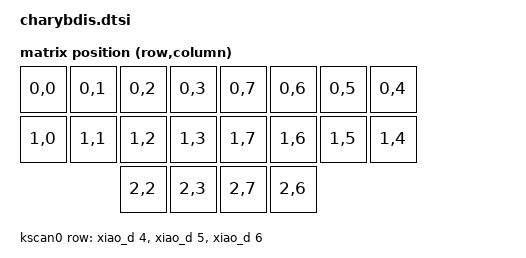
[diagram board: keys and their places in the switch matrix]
#include <dt-bindings/zmk/matrix_transform.h>

/ {
    chosen {
        zmk,kscan = &kscan0;
        zmk,matrix_transform = &default_transform;
    };

    default_transform: keymap_transform_0 {
        compatible = "zmk,matrix-transform";
        columns = <8>;
        rows = <3>;
    //      | SW01  | SW02  | SW03  | SW04  |   | SW04  | SW03  | SW02  | SW01  |  
    //      | SW05  | SW06  | SW07  | SW08  |   | SW08  | SW07  | SW06  | SW05  |
    //                      | SW09  | SW10  |   | SW10  | SW09  |

        map = <
            RC(0,0) RC(0,1) RC(0,2) RC(0,3)     RC(0,7) RC(0,6) RC(0,5) RC(0,4)
            RC(1,0) RC(1,1) RC(1,2) RC(1,3)     RC(1,7) RC(1,6) RC(1,5) RC(1,4)
                            RC(2,2) RC(2,3)     RC(2,7) RC(2,6)
        >;
    };


    kscan0: kscan {
        compatible = "zmk,kscan-gpio-matrix";
        label = "KSCAN";

        diode-direction = "row2col";
		
		row-gpios = <&xiao_d 4 (GPIO_ACTIVE_HIGH)>
				  , <&xiao_d 5 (GPIO_ACTIVE_HIGH)>
				  , <&xiao_d 6 (GPIO_ACTIVE_HIGH)>
				  ;
    };

	trackballs {
		compatible = "zmk,keymap-trackballs";
		trackballs = <&trackball>;
	};
};

&xiao_spi {
	compatible = "nordic,nrf-spi";
	status = "disabled";

	trackball: trackball@0 {
		compatible = "pixart,pmw3610";
		status = "disabled";
		reg = <0>;
		label = "TRACKBALL";
		spi-max-frequency = <2000000>;
		duplex = <2048>; // required by 3-wire spi
	};
};
